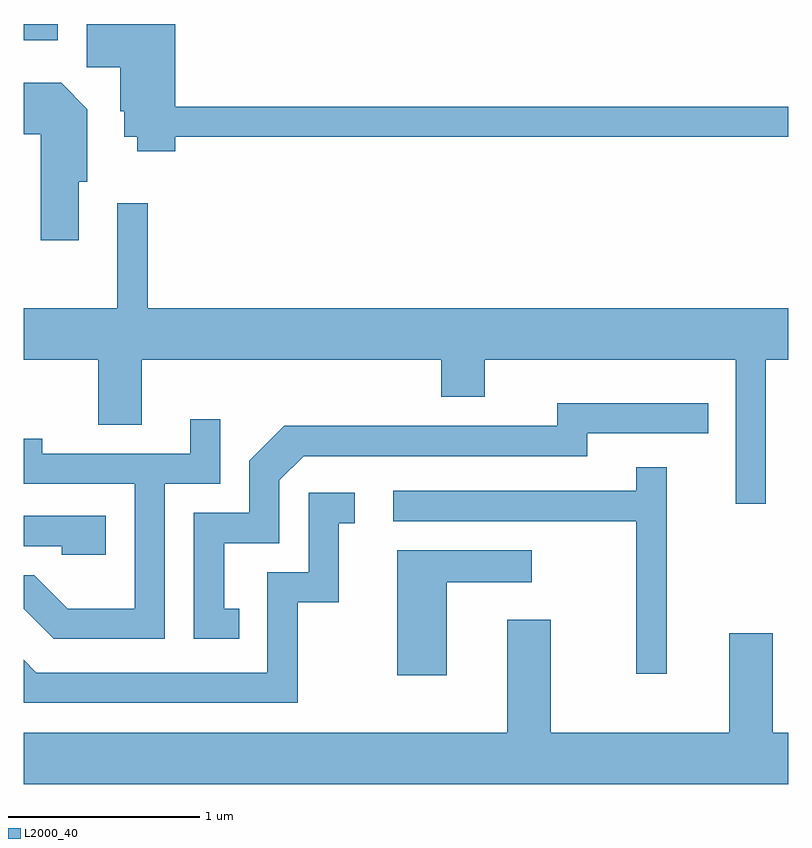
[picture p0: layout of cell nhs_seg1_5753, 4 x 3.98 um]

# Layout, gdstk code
import gdstk
lib = gdstk.Library(unit=1e-6, precision=1e-09)
def R(c, l, rs):  # rectangles x0, y0, x1, y1
    for r in rs: c.add(gdstk.rectangle(r[:2], r[2:], *l))
def P(c, l, *ps):  # polygons
    for p in ps: c.add(gdstk.Polygon(p, *l))
L2000_40 = (2000, 40)

nhs_seg1_5753 = lib.new_cell('nhs_seg1_5753')
R(nhs_seg1_5753, L2000_40, [(357.611,965.626,357.789,965.712)])
P(nhs_seg1_5753, L2000_40, [(358.404,965.121),(361.611,965.121),(361.611,965.279),(358.404,965.279),(358.404,965.712),(357.941,965.712),(357.941,965.486),(358.116,965.486),(358.116,965.256),(358.136,965.256),(358.136,965.121),(358.206,965.121),(358.206,965.046),(358.404,965.046)],
  [(357.899,964.886),(357.944,964.886),(357.944,965.267),(357.807,965.404),(357.611,965.404),(357.611,965.136),(357.701,965.136),(357.701,964.581),(357.899,964.581)],
  [(358.101,964.773),(358.101,964.224),(357.611,964.224),(357.611,963.956),(358.001,963.956),(358.001,963.616),(358.229,963.616),(358.229,963.956),(359.796,963.956),(359.796,963.761),(360.024,963.761),(360.024,963.956),(361.336,963.956),(361.336,963.203),(361.494,963.203),(361.494,963.956),(361.611,963.956),(361.611,964.224),(358.259,964.224),(358.259,964.773)],
  [(358.738,962.654),(358.659,962.654),(358.659,962.996),(358.949,962.996),(358.949,963.324),(359.077,963.451),(360.559,963.451),(360.559,963.571),(361.193,963.571),(361.193,963.729),(360.401,963.729),(360.401,963.609),(358.974,963.609),(358.791,963.427),(358.791,963.154),(358.501,963.154),(358.501,962.496),(358.738,962.496)],
  [(358.349,963.306),(358.639,963.306),(358.639,963.643),(358.481,963.643),(358.481,963.464),(357.709,963.464),(357.709,963.543),(357.611,963.543),(357.611,963.306),(358.191,963.306),(358.191,962.654),(357.842,962.654),(357.667,962.829),(357.611,962.829),(357.611,962.654),(357.769,962.496),(358.349,962.496)],
  [(360.974,963.393),(360.816,963.393),(360.816,963.269),(359.543,963.269),(359.543,963.111),(360.816,963.111),(360.816,962.313),(360.974,962.313)],
  [(359.044,962.686),(359.259,962.686),(359.259,963.101),(359.343,963.101),(359.343,963.259),(359.101,963.259),(359.101,962.844),(358.886,962.844),(358.886,962.319),(357.677,962.319),(357.611,962.385),(357.611,962.161),(359.044,962.161)],
  [(358.039,963.139),(357.611,963.139),(357.611,962.981),(357.811,962.981),(357.811,962.936),(358.039,962.936)],
  [(359.824,962.791),(360.268,962.791),(360.268,962.959),(359.566,962.959),(359.566,962.306),(359.824,962.306)],
  [(361.611,962.004),(361.529,962.004),(361.529,962.524),(361.301,962.524),(361.301,962.004),(360.369,962.004),(360.369,962.594),(360.141,962.594),(360.141,962.004),(357.611,962.004),(357.611,961.736),(361.611,961.736)])

lib.write_gds('nhs_seg1_5753.gds')
